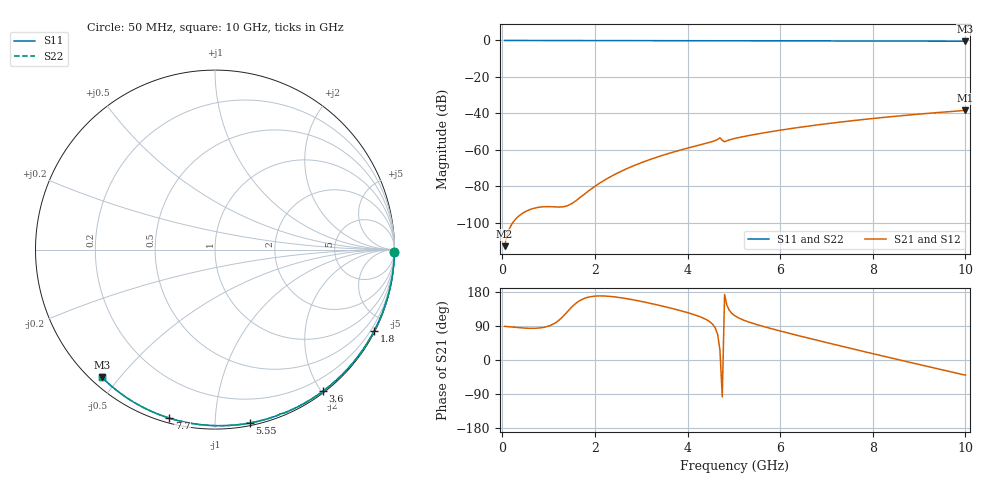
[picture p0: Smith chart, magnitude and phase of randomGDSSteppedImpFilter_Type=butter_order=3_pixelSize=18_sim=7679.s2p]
! freq	dB(S11)	phase(S11)	dB(S12)	phase(S12)
!  dB(S21)	phase(S21)	dB(S22)	phase(S22)
!S-par simulation data
#  GHz  S  DB  R 50
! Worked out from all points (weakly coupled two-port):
!   200 points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, 50 MHz to 10 GHz, reference 50 ohm
!   highest |S21| = -38.33 dB at 10 GHz (marker M1); lowest = -112.8 dB at 50 MHz (marker M2)
!   lowest |S11| = -0.4 dB at 10 GHz (marker M3), VSWR 39.09, Z = 1.54 - j22.5 ohm
!   |S11| at or under -10 dB: nowhere
!   |S22| runs from -0.4 to 0.0 dB; largest |S21 - S12| = 0
!   S11 on the Smith chart (normalised r, x): 50 MHz: open; 1.8 GHz: 0.04, -4.17; 3.6 GHz: 0.02, -2.02; 5.55 GHz: 0.02, -1.22; 7.7 GHz: 0.02, -0.76; 10 GHz: 0.03, -0.45
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0.05  -0.00 -0.8  -112.76 88.7  -112.76 88.7  -0.00 -0.8
0.9  -0.02 -13.6  -91.14 86.3  -91.14 86.3  -0.02 -13.6
1.75  -0.03 -26.2  -84.68 161.5  -84.68 161.5  -0.03 -26.2
1.8  -0.03 -27.0  -83.68 163.8  -83.68 163.8  -0.03 -27.0
2  -0.04 -29.9  -79.95 168.6  -79.95 168.6  -0.04 -29.9
2.35  -0.05 -35.0  -74.50 167.6  -74.50 167.6  -0.05 -35.0
2.65  -0.05 -39.3  -70.72 162.6  -70.72 162.6  -0.05 -39.3
3  -0.06 -44.3  -67.02 154.6  -67.02 154.6  -0.06 -44.3
3.4  -0.07 -49.9  -63.46 143.9  -63.46 143.9  -0.07 -50.0
3.6  -0.07 -52.7  -61.88 138.0  -61.88 138.0  -0.07 -52.7
4.5  -0.09 -65.0  -55.68 99.0  -55.68 99.0  -0.09 -65.0
4.6  -0.10 -66.4  -54.84 84.1  -54.84 84.1  -0.10 -66.4
4.7  -0.12 -67.8  -53.37 26.1  -53.37 26.1  -0.12 -67.8
4.75  -0.13 -68.3  -54.72 -97.2  -54.72 -97.2  -0.13 -68.3
4.8  -0.11 -68.9  -55.52 173.0  -55.52 173.0  -0.11 -68.9
5.05  -0.11 -72.3  -53.55 114.9  -53.55 114.9  -0.11 -72.3
5.55  -0.13 -78.7  -51.07 91.5  -51.07 91.5  -0.13 -78.8
6.7  -0.18 -93.1  -46.64 55.0  -46.64 55.0  -0.18 -93.2
7.7  -0.24 -105.2  -43.59 25.5  -43.59 25.5  -0.24 -105.2
8.35  -0.29 -112.8  -41.89 6.7  -41.89 6.7  -0.29 -112.8
9.15  -0.36 -121.9  -40.05 -16.1  -40.05 -16.1  -0.36 -121.9
10  -0.44 -131.6  -38.33 -40.1  -38.33 -40.1  -0.44 -131.6
